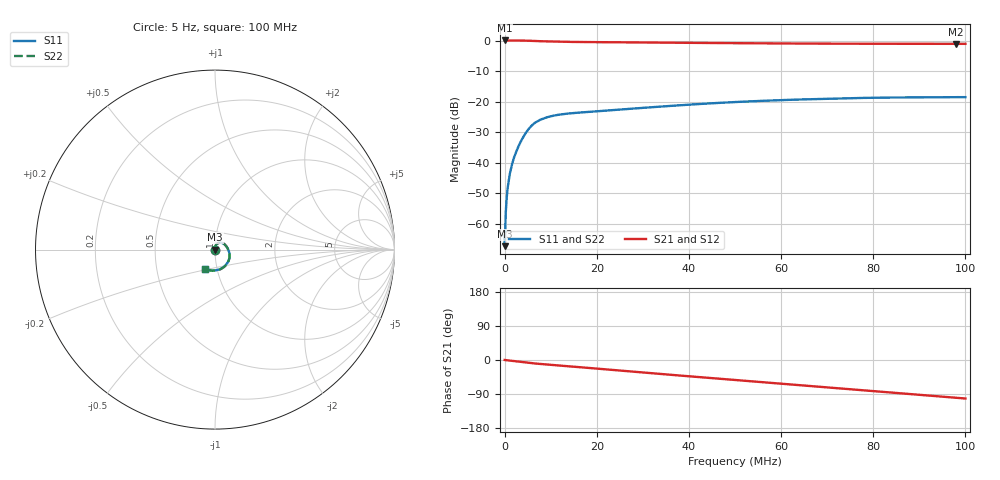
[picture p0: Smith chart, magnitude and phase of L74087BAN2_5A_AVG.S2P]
!Agilent Technologies,E5061B,MY49102235,A.02.00
!Date: Mon Jul 10 16:47:09 2023
!Data & Calibration Information:
!Freq	S11:SOLT2(ON)	S21:SOLT2(ON)	S12:SOLT2(ON)	S22:SOLT2(ON)
# Hz S RI R 50
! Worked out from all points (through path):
!   1600 points, 5 Hz to 100 MHz, reference 50 ohm
!   highest |S21| = 0.02 dB at 5 Hz (marker M1); lowest = -1.1 dB at 97.87 MHz (marker M2)
!   group delay of S21, straight-line fit = 2.76 ns
!   lowest |S11| = -67.3 dB at 62.54 kHz (marker M3), VSWR 1.00, Z = 50 + j0.0428 ohm
!   |S11| at or under -10 dB: start of sweep to end of sweep
!   |S22| runs from -76.9 to -18.3 dB; largest |S21 - S12| = 0.0027
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5  -0.000488 0.000427  1.002 0.00236  1.001 -6.11e-05  -0.000128 -6.35e-05
62544.08  -5.51e-05 0.000428  1 -0.00136  1 -0.00116  2.04e-05 0.00033
375239.5  0.000135 0.00223  1 -0.00878  1 -0.0089  9.45e-05 0.00222
562856.8  0.000263 0.00335  0.9996 -0.0135  0.9995 -0.0131  0.000208 0.0033
625395.8  0.000255 0.0037  0.9998 -0.015  0.9991 -0.0147  0.000279 0.00372
813013.1  0.000196 0.00474  1 -0.0195  0.9989 -0.019  0.00018 0.00469
1125709  0.000341 0.00656  0.9998 -0.027  0.9991 -0.0265  0.000353 0.00654
1563482  0.000562 0.00909  0.9986 -0.0373  0.9989 -0.0371  0.0006 0.00907
2251412  0.00131 0.0133  0.9983 -0.0546  0.9979 -0.0535  0.00129 0.0133
3126959  0.00275 0.0192  0.9957 -0.0755  0.9956 -0.0754  0.00274 0.0192
4127585  0.00614 0.0263  0.9914 -0.1008  0.9912 -0.1005  0.00615 0.0263
5065671  0.0116 0.0324  0.9845 -0.1238  0.9842 -0.1235  0.0116 0.0325
5941218  0.0184 0.0365  0.9762 -0.1436  0.9762 -0.1432  0.0183 0.0366
8067547  0.0353 0.038  0.9546 -0.1833  0.9546 -0.183  0.0352 0.0381
1.131958e7  0.0519 0.0306  0.9279 -0.2336  0.9278 -0.2335  0.052 0.0307
1.669794e7  0.0645 0.0164  0.8911 -0.3133  0.8912 -0.3132  0.0647 0.0163
3.333334e7  0.0798 -0.0202  0.7452 -0.5467  0.7454 -0.5465  0.0803 -0.0209
5.003127e7  0.0745 -0.0643  0.5451 -0.7222  0.5455 -0.7222  0.0746 -0.0652
6.672921e7  0.0411 -0.1019  0.3156 -0.8325  0.3155 -0.8324  0.0415 -0.1031
8.33646e7  -0.006 -0.1164  0.0712 -0.881  0.0715 -0.8811  -0.00598 -0.1181
9.787367e7  -0.0474 -0.1083  -0.1463 -0.8691  -0.1465 -0.8695  -0.0479 -0.1109
1e8  -0.053 -0.1059  -0.1778 -0.8634  -0.1782 -0.8636  -0.0536 -0.1085
